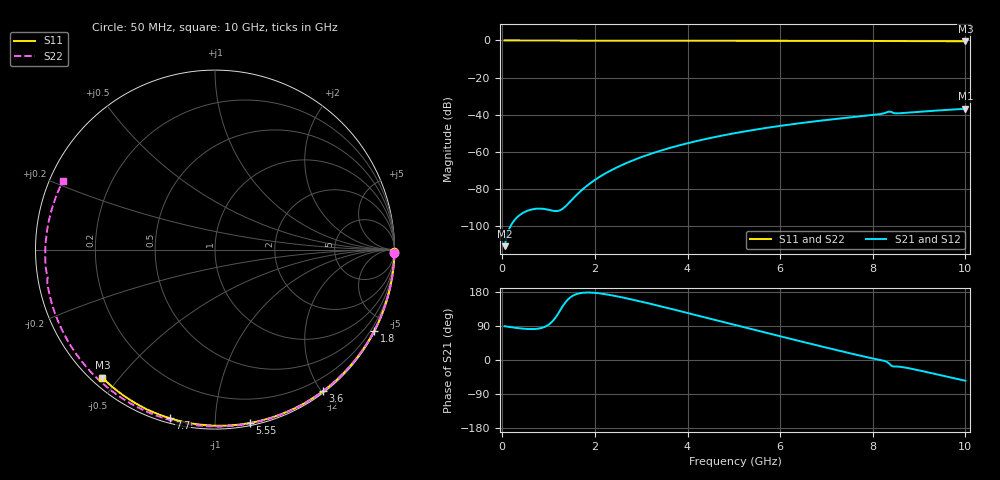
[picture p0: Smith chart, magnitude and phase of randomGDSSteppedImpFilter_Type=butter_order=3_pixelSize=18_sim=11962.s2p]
! freq	dB(S11)	phase(S11)	dB(S12)	phase(S12)
!  dB(S21)	phase(S21)	dB(S22)	phase(S22)
!S-par simulation data
#  GHz  S  DB  R 50
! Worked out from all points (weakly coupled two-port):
!   200 points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, 50 MHz to 10 GHz, reference 50 ohm
!   highest |S21| = -36.83 dB at 10 GHz (marker M1); lowest = -110.9 dB at 50 MHz (marker M2)
!   lowest |S11| = -0.4 dB at 10 GHz (marker M3), VSWR 39.23, Z = 1.53 - j22.6 ohm
!   |S11| at or under -10 dB: nowhere
!   |S22| runs from -0.6 to 0.0 dB; largest |S21 - S12| = 0
!   S11 on the Smith chart (normalised r, x): 50 MHz: open; 1.8 GHz: 0.04, -4.18; 3.6 GHz: 0.02, -2.02; 5.55 GHz: 0.02, -1.22; 7.7 GHz: 0.02, -0.77; 10 GHz: 0.03, -0.45
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0.05  -0.00 -0.8  -110.89 89.2  -110.89 89.2  -0.00 -1.2
0.85  -0.02 -12.8  -90.70 84.7  -90.70 84.7  -0.02 -19.5
1.3  -0.02 -19.5  -90.79 141.2  -90.79 141.2  -0.04 -29.7
1.75  -0.03 -26.2  -79.93 177.6  -79.93 177.6  -0.05 -39.7
1.8  -0.03 -26.9  -78.89 178.0  -78.89 178.0  -0.05 -40.8
2.1  -0.04 -31.3  -73.56 175.8  -73.56 175.8  -0.06 -47.4
2.45  -0.05 -36.4  -68.73 168.7  -68.73 168.7  -0.07 -55.0
2.9  -0.06 -42.8  -63.85 156.8  -63.85 156.8  -0.08 -64.6
3.4  -0.07 -49.9  -59.55 142.3  -59.55 142.3  -0.10 -74.9
3.6  -0.07 -52.6  -58.07 136.3  -58.07 136.3  -0.11 -79.0
4.3  -0.09 -62.2  -53.63 114.8  -53.63 114.8  -0.13 -93.1
5.05  -0.11 -72.2  -49.85 91.7  -49.85 91.7  -0.16 -107.6
5.55  -0.13 -78.6  -47.73 76.3  -47.73 76.3  -0.19 -117.2
6.1  -0.15 -85.6  -45.70 59.6  -45.70 59.6  -0.23 -127.5
6.7  -0.18 -93.0  -43.75 41.5  -43.75 41.5  -0.27 -138.7
7.7  -0.24 -105.0  -41.00 12.3  -41.00 12.3  -0.36 -157.6
8.15  -0.27 -110.2  -39.72 0.2  -39.72 0.2  -0.40 -166.3
8.35  -0.28 -112.6  -38.33 -9.0  -38.33 -9.0  -0.48 -170.3
8.45  -0.29 -113.7  -39.09 -17.2  -39.09 -17.2  -0.48 -171.9
8.55  -0.30 -114.9  -39.28 -17.5  -39.28 -17.5  -0.46 -173.9
9.3  -0.37 -123.4  -37.92 -35.5  -37.92 -35.5  -0.54 170.7
10  -0.44 -131.3  -36.83 -54.8  -36.83 -54.8  -0.63 155.6
